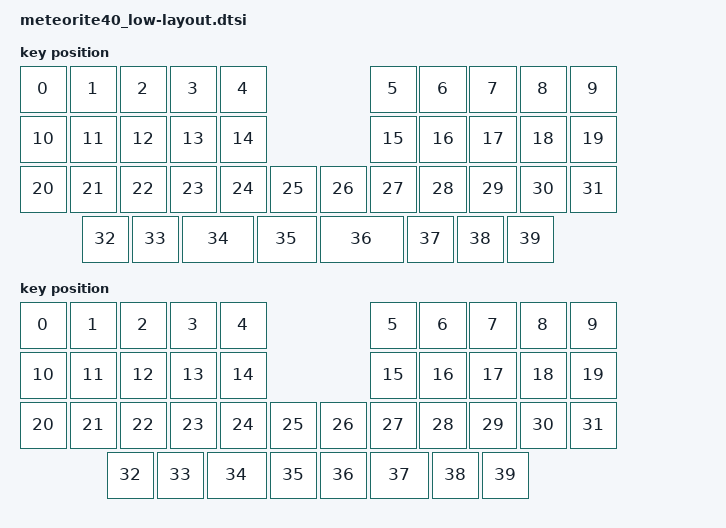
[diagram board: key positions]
#include <physical_layouts.dtsi>

/ {
    LOW_PROFILE_DEFAULT: LOW_PROFILE_TYPE_A: low_profile_type_a {
        compatible = "zmk,physical-layout";
        display-name = "Type A";

        keys //                  w    h   x     y  rot rx ry
            =
            // Row 1 Left (5)
            <&key_physical_attrs 100 100    0    0  0  0  0>,
            <&key_physical_attrs 100 100  100    0  0  0  0>,
            <&key_physical_attrs 100 100  200    0  0  0  0>,
            <&key_physical_attrs 100 100  300    0  0  0  0>,
            <&key_physical_attrs 100 100  400    0  0  0  0>,
            // Row 1 Right (5)
            <&key_physical_attrs 100 100  700    0  0  0  0>,
            <&key_physical_attrs 100 100  800    0  0  0  0>,
            <&key_physical_attrs 100 100  900    0  0  0  0>,
            <&key_physical_attrs 100 100 1000    0  0  0  0>,
            <&key_physical_attrs 100 100 1100    0  0  0  0>,

            // Row 2 Left (5)
            <&key_physical_attrs 100 100    0  100  0  0  0>,
            <&key_physical_attrs 100 100  100  100  0  0  0>,
            <&key_physical_attrs 100 100  200  100  0  0  0>,
            <&key_physical_attrs 100 100  300  100  0  0  0>,
            <&key_physical_attrs 100 100  400  100  0  0  0>,
            // Row 2 Right (5)
            <&key_physical_attrs 100 100  700  100  0  0  0>,
            <&key_physical_attrs 100 100  800  100  0  0  0>,
            <&key_physical_attrs 100 100  900  100  0  0  0>,
            <&key_physical_attrs 100 100 1000  100  0  0  0>,
            <&key_physical_attrs 100 100 1100  100  0  0  0>,

            // Row 3 (12)
            <&key_physical_attrs 100 100    0  200  0  0  0>,
            <&key_physical_attrs 100 100  100  200  0  0  0>,
            <&key_physical_attrs 100 100  200  200  0  0  0>,
            <&key_physical_attrs 100 100  300  200  0  0  0>,
            <&key_physical_attrs 100 100  400  200  0  0  0>,
            <&key_physical_attrs 100 100  500  200  0  0  0>,
            <&key_physical_attrs 100 100  600  200  0  0  0>,
            <&key_physical_attrs 100 100  700  200  0  0  0>,
            <&key_physical_attrs 100 100  800  200  0  0  0>,
            <&key_physical_attrs 100 100  900  200  0  0  0>,
            <&key_physical_attrs 100 100 1000  200  0  0  0>,
            <&key_physical_attrs 100 100 1100  200  0  0  0>,

            // Row 4 (Type A: existing)
            <&key_physical_attrs 100 100  125  300  0  0  0>,
            <&key_physical_attrs 100 100  225  300  0  0  0>,
            <&key_physical_attrs 150 100  325  300  0  0  0>,
            <&key_physical_attrs 125 100  475  300  0  0  0>,
            <&key_physical_attrs 175 100  600  300  0  0  0>,
            <&key_physical_attrs 100 100  775  300  0  0  0>,
            <&key_physical_attrs 100 100  875  300  0  0  0>,
            <&key_physical_attrs 100 100  975  300  0  0  0>
        ;
    };

    LOW_PROFILE_TYPE_B: low_profile_type_b {
        compatible = "zmk,physical-layout";
        display-name = "Type B";

        keys //                  w    h   x     y  rot rx ry
            =
            // Row 1 Left (5)
            <&key_physical_attrs 100 100    0    0  0  0  0>,
            <&key_physical_attrs 100 100  100    0  0  0  0>,
            <&key_physical_attrs 100 100  200    0  0  0  0>,
            <&key_physical_attrs 100 100  300    0  0  0  0>,
            <&key_physical_attrs 100 100  400    0  0  0  0>,
            // Row 1 Right (5)
            <&key_physical_attrs 100 100  700    0  0  0  0>,
            <&key_physical_attrs 100 100  800    0  0  0  0>,
            <&key_physical_attrs 100 100  900    0  0  0  0>,
            <&key_physical_attrs 100 100 1000    0  0  0  0>,
            <&key_physical_attrs 100 100 1100    0  0  0  0>,

            // Row 2 Left (5)
            <&key_physical_attrs 100 100    0  100  0  0  0>,
            <&key_physical_attrs 100 100  100  100  0  0  0>,
            <&key_physical_attrs 100 100  200  100  0  0  0>,
            <&key_physical_attrs 100 100  300  100  0  0  0>,
            <&key_physical_attrs 100 100  400  100  0  0  0>,
            // Row 2 Right (5)
            <&key_physical_attrs 100 100  700  100  0  0  0>,
            <&key_physical_attrs 100 100  800  100  0  0  0>,
            <&key_physical_attrs 100 100  900  100  0  0  0>,
            <&key_physical_attrs 100 100 1000  100  0  0  0>,
            <&key_physical_attrs 100 100 1100  100  0  0  0>,

            // Row 3 (12)
            <&key_physical_attrs 100 100    0  200  0  0  0>,
            <&key_physical_attrs 100 100  100  200  0  0  0>,
            <&key_physical_attrs 100 100  200  200  0  0  0>,
            <&key_physical_attrs 100 100  300  200  0  0  0>,
            <&key_physical_attrs 100 100  400  200  0  0  0>,
            <&key_physical_attrs 100 100  500  200  0  0  0>,
            <&key_physical_attrs 100 100  600  200  0  0  0>,
            <&key_physical_attrs 100 100  700  200  0  0  0>,
            <&key_physical_attrs 100 100  800  200  0  0  0>,
            <&key_physical_attrs 100 100  900  200  0  0  0>,
            <&key_physical_attrs 100 100 1000  200  0  0  0>,
            <&key_physical_attrs 100 100 1100  200  0  0  0>,

            // Row 4 (Type B: requested)
            <&key_physical_attrs 100 100  175  300  0  0  0>,
            <&key_physical_attrs 100 100  275  300  0  0  0>,
            <&key_physical_attrs 125 100  375  300  0  0  0>,
            <&key_physical_attrs 100 100  500  300  0  0  0>,
            <&key_physical_attrs 100 100  600  300  0  0  0>,
            <&key_physical_attrs 125 100  700  300  0  0  0>,
            <&key_physical_attrs 100 100  825  300  0  0  0>,
            <&key_physical_attrs 100 100  925  300  0  0  0>
        ;
    };
};
